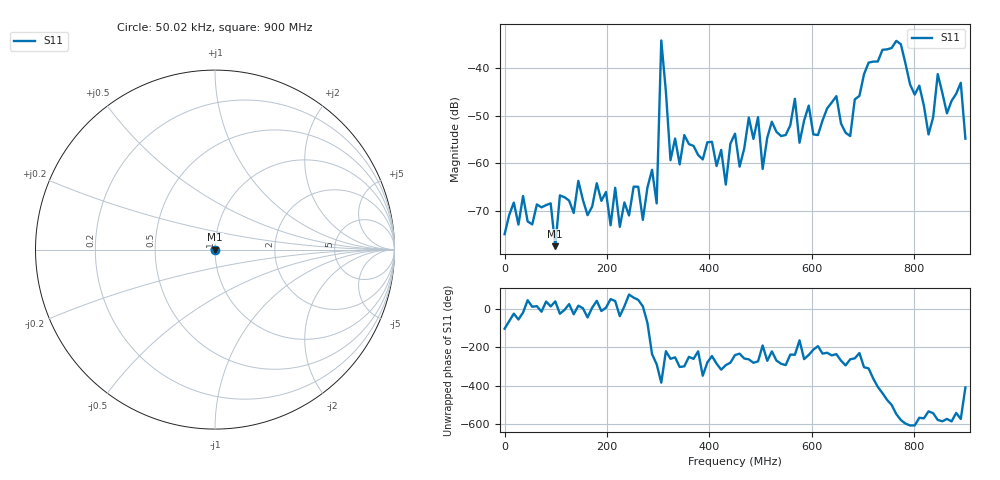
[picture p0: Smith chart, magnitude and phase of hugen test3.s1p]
! File created by NanoVNA (https://gen111.taobao.com/)
! Start 50016Hz  Stop 899999916Hz  Points 101
# HZ S MA R 50
!S - Parameter data, F S11
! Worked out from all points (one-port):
!   101 points, 50.02 kHz to 900 MHz, reference 50 ohm
!   lowest |S11| = -77.5 dB at 99.04 MHz (marker M1), VSWR 1.00, Z = 50 + j0.0086 ohm
!   |S11| at or under -10 dB: start of sweep to end of sweep
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50016  0.0001788 -102.0
3.604792e7  0.000451 -18.0
9.004492e7  0.0003773 14.0
9.904442e7  0.0001337 40.0
1.170434e8  0.0004378 -4.2
2.340369e8  0.0003858 15.0
2.700349e8  0.0002529 14.2
2.880339e8  0.0008498 124.8
2.970334e8  0.000377 72.9
3.060329e8  0.01953 -23.1
3.240319e8  0.001073 101.0
3.420309e8  0.0009698 58.5
4.590244e8  0.0009181 127.9
4.770234e8  0.003021 98.2
4.950224e8  0.003049 87.8
5.040219e8  0.0008684 170.7
5.670184e8  0.004752 122.2
5.760179e8  0.001639 -162.8
6.480139e8  0.005066 125.5
6.750124e8  0.001927 98.4
6.840119e8  0.004691 103.5
7.650074e8  0.01934 173.2
7.920059e8  0.006722 114.0
8.280039e8  0.002003 -172.4
8.460029e8  0.008642 142.7
8.640019e8  0.003343 148.0
8.910004e8  0.006997 147.7
8.999999e8  0.001808 -48.2
